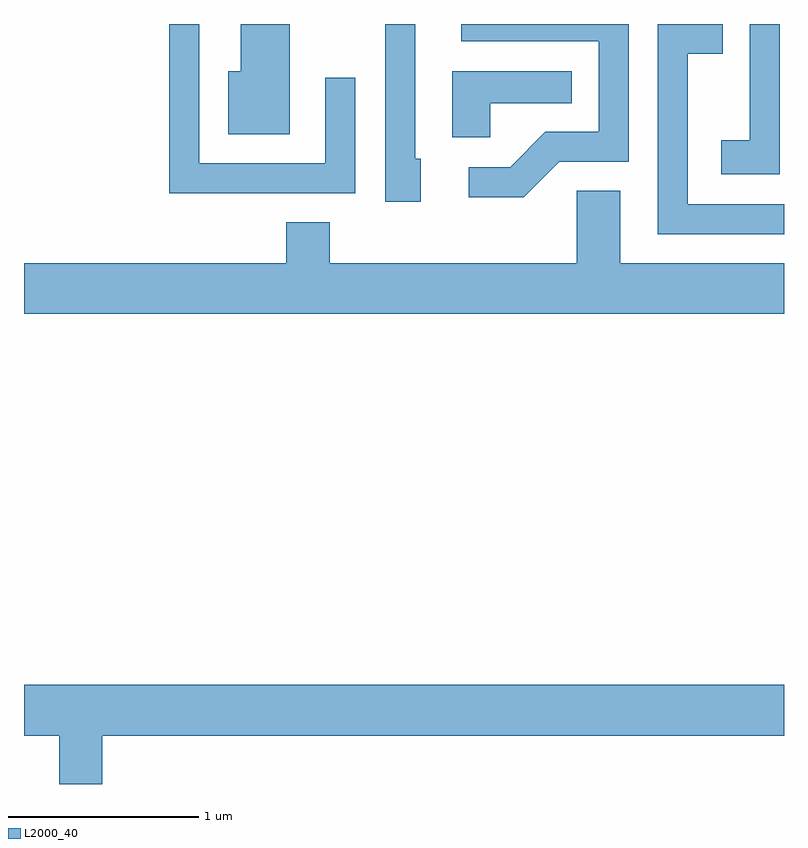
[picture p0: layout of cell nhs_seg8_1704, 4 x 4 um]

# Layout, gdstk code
import gdstk
lib = gdstk.Library(unit=1e-6, precision=1e-09)
def P(c, l, *ps):  # polygons
    for p in ps: c.add(gdstk.Polygon(p, *l))
L2000_40 = (2000, 40)

nhs_seg8_1704 = lib.new_cell('nhs_seg8_1704')
P(nhs_seg8_1704, L2000_40, [(239.589,1882.342),(239.431,1882.342),(239.431,1881.729),(239.281,1881.729),(239.281,1881.551),(239.589,1881.551)],
  [(237.699,1881.634),(237.669,1881.634),(237.669,1882.342),(237.511,1882.342),(237.511,1881.406),(237.699,1881.406)],
  [(239.611,1881.394),(239.104,1881.394),(239.104,1882.186),(239.288,1882.186),(239.288,1882.342),(238.946,1882.342),(238.946,1881.236),(239.611,1881.236)],
  [(238.427,1881.616),(238.794,1881.616),(238.794,1882.342),(237.913,1882.342),(237.913,1882.251),(238.636,1882.251),(238.636,1881.774),(238.354,1881.774),(238.169,1881.589),(237.953,1881.589),(237.953,1881.431),(238.242,1881.431)],
  [(237.009,1882.342),(236.751,1882.342),(236.751,1882.094),(236.686,1882.094),(236.686,1881.761),(237.009,1881.761)],
  [(237.354,1882.058),(237.196,1882.058),(237.196,1881.609),(236.534,1881.609),(236.534,1882.342),(236.376,1882.342),(236.376,1881.451),(237.354,1881.451)],
  [(238.064,1881.926),(238.493,1881.926),(238.493,1882.094),(237.866,1882.094),(237.866,1881.746),(238.064,1881.746)],
  [(239.611,1881.084),(238.749,1881.084),(238.749,1881.464),(238.521,1881.464),(238.521,1881.084),(237.219,1881.084),(237.219,1881.299),(236.991,1881.299),(236.991,1881.084),(235.611,1881.084),(235.611,1880.816),(239.611,1880.816)],
  [(236.024,1878.596),(239.611,1878.596),(239.611,1878.864),(235.611,1878.864),(235.611,1878.596),(235.796,1878.596),(235.796,1878.342),(236.024,1878.342)])

lib.write_gds('nhs_seg8_1704.gds')
